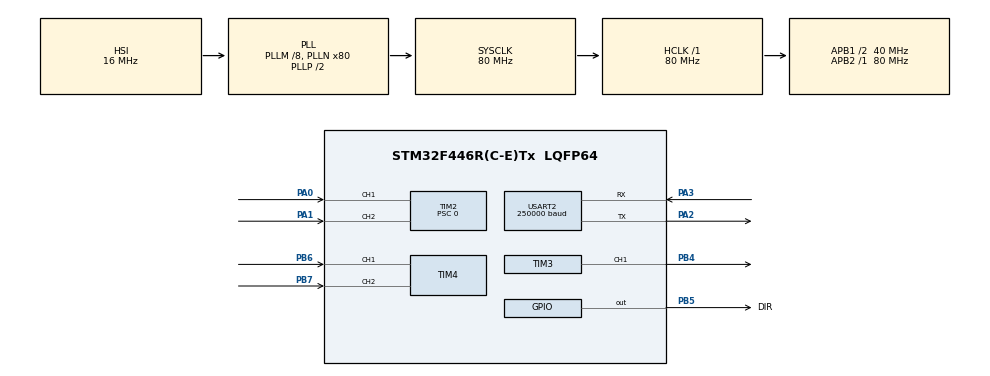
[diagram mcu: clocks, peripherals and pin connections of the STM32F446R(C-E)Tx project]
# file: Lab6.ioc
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Mcu.Family=STM32F4
Mcu.Name=STM32F446R(C-E)Tx
Mcu.Package=LQFP64
NVIC.PriorityGroup=NVIC_PRIORITYGROUP_4
NVIC.TIM1_UP_TIM10_IRQn=true\:0\:0\:false\:false\:true\:true\:true\:true
PA0-WKUP.Signal=S_TIM2_CH1_ETR
PA1.Signal=S_TIM2_CH2
PA2.Mode=Asynchronous
PA2.Signal=USART2_TX
PA3.Mode=Asynchronous
PA3.Signal=USART2_RX
PB4.Signal=S_TIM3_CH1
PB5.GPIO_Label=DIR
PB5.Signal=GPIO_Output
PB6.Signal=S_TIM4_CH1
PB7.Signal=S_TIM4_CH2
ProjectManager.HeapSize=0x200
ProjectManager.StackSize=0x400
ProjectManager.TargetToolchain=STM32CubeIDE
RCC.AHBFreq_Value=80000000
RCC.APB1CLKDivider=RCC_HCLK_DIV2
RCC.APB1Freq_Value=40000000
RCC.APB1TimFreq_Value=80000000
RCC.APB2Freq_Value=80000000
RCC.APB2TimFreq_Value=80000000
RCC.CortexFreq_Value=80000000
RCC.HCLKFreq_Value=80000000
RCC.PLLM=8
RCC.PLLN=80
RCC.SYSCLKFreq_VALUE=80000000
RCC.SYSCLKSource=RCC_SYSCLKSOURCE_PLLCLK
RCC.USBFreq_Value=80000000
RCC.VCOOutputFreq_Value=160000000
SH.S_TIM2_CH1_ETR.0=TIM2_CH1,Encoder_Interface
SH.S_TIM2_CH2.0=TIM2_CH2,Encoder_Interface
SH.S_TIM3_CH1.0=TIM3_CH1,PWM Generation1 CH1
SH.S_TIM4_CH1.0=TIM4_CH1,Encoder_Interface
SH.S_TIM4_CH2.0=TIM4_CH2,Encoder_Interface
TIM10.Period=999
TIM10.Prescaler=799
TIM2.EncoderMode=TIM_ENCODERMODE_TI12
TIM2.IC1Filter=1
TIM2.Prescaler=0
TIM3.Channel-PWM\ Generation1\ CH1=TIM_CHANNEL_1
TIM3.Period=99
TIM3.Prescaler=799
USART2.BaudRate=250000
USART2.VirtualMode=VM_ASYNC
VP_TIM10_VS_ClockSourceINT.Mode=Enable_Timer
board=custom

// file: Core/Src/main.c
/* USER CODE BEGIN Header */
/**
  ******************************************************************************
  * @file           : main.c
  * @brief          : Main program body
  ******************************************************************************
  * @attention
  *
  * Copyright (c) 2024 STMicroelectronics.
  * All rights reserved.
  *
  * This software is licensed under terms that can be found in the LICENSE file
  * in the root directory of this software component.
  * If no LICENSE file comes with this software, it is provided AS-IS.
  *
  ******************************************************************************
  */
/* USER CODE END Header */
#include "main.h"

/* USER CODE BEGIN Includes */
#include <string.h>
#include <stdio.h>
/* USER CODE END Includes */

/* USER CODE BEGIN PD */
#define ENCODER_RESOLUTION 20 // pulses per revolution
#define MAX_RPM 1000 // limit the speed
#define MAX_CONTROL 100 // limit the control signal  (for pwm)
#define INC_STEP 10 // set speed increment step
#define INC_PER_TICK 1 // 2 pulses per tick (encoder)
#define AVERAGING_SIZE 10
#define TIMER_PERIOD 10 // 1/T = 1/100 = 10ms

// PID Controller
const float Kp = 0.2;
const float Ki = 0.09;

/* USER CODE END PD */

/* USER CODE BEGIN PM */

struct telemetry_msg {
  int16_t header;
  int16_t rotor_speed; // RPM * 10
  int16_t set_speed; // RPM * 10
  int16_t error; // RPM * 10
  int16_t control_signal; // [-MAX_CONTROL, MAX_CONTROL]
  int16_t terminator;
};

/* USER CODE END PM */

TIM_HandleTypeDef htim2;
TIM_HandleTypeDef htim3;
TIM_HandleTypeDef htim4;
TIM_HandleTypeDef htim10;

UART_HandleTypeDef huart2;

/* USER CODE BEGIN PV */
uint32_t time; // ms

int16_t rotor_pos;
int16_t rotor_speed;

int16_t set_speed;

float integral = 0;
/* USER CODE END PV */

void SystemClock_Config(void);
static void MX_GPIO_Init(void);
static void MX_TIM2_Init(void);
static void MX_TIM3_Init(void);
static void MX_USART2_UART_Init(void);
static void MX_TIM10_Init(void);
static void MX_TIM4_Init(void);
/* USER CODE BEGIN PFP */
int32_t get_motor_speed(); // RPM * 100
int16_t pid_controller(int16_t set_speed, int16_t current_speed); // control signal [-MAX_CONTROL, MAX_CONTROL]
/* USER CODE END PFP */

/* USER CODE BEGIN 0 */
int32_t current_pos;
int32_t get_motor_speed(){  // RPM * 100
	current_pos = __HAL_TIM_GET_COUNTER(&htim2);
  __HAL_TIM_SetCounter(&htim2, 0);

  float avg_speed = (float) current_pos / ENCODER_RESOLUTION; // ticks per clock tick (1ms)
  return avg_speed * TIMER_PERIOD * 60;
}

int16_t pid_controller(int16_t set_speed, int16_t current_speed) {
  int16_t error = set_speed - current_speed;

  // integral += error;
  if(set_speed == 0) return 0;
  int16_t control_signal = Kp * error + Ki * integral;
  if(control_signal > MAX_CONTROL) {
    control_signal = MAX_CONTROL;
  } else if(control_signal < -MAX_CONTROL) {
    control_signal = -MAX_CONTROL;
  } else{
    integral += error;
  }
  return control_signal;
}

/* USER CODE END 0 */

int main(void)
{

  /* MCU Configuration--------------------------------------------------------*/

  /* Reset of all peripherals, Initializes the Flash interface and the Systick. */
  HAL_Init();

  /* Configure the system clock */
  SystemClock_Config();

  /* Initialize all configured peripherals */
  MX_GPIO_Init();
  MX_TIM2_Init();
  MX_TIM3_Init();
  MX_USART2_UART_Init();
  MX_TIM10_Init();
  MX_TIM4_Init();
  /* USER CODE BEGIN 2 */
  HAL_TIM_Encoder_Start(&htim2, TIM_CHANNEL_ALL); // motor
  HAL_TIM_Encoder_Start(&htim4, TIM_CHANNEL_ALL); // encoder
  HAL_TIM_Base_Start_IT(&htim10);
  HAL_TIM_PWM_Start(&htim3, TIM_CHANNEL_1);
  /* USER CODE END 2 */

  /* Infinite loop */
  /* USER CODE BEGIN WHILE */
  while (1)
  {
    // write PWM
    // __HAL_TIM_SetCompare(&htim3, TIM_CHANNEL_1, 50);

    /* USER CODE END WHILE */

  }
}

void SystemClock_Config(void)
{
  RCC_OscInitTypeDef RCC_OscInitStruct = {0};
  RCC_ClkInitTypeDef RCC_ClkInitStruct = {0};

  /** Configure the main internal regulator output voltage
  */
  __HAL_RCC_PWR_CLK_ENABLE();
  __HAL_PWR_VOLTAGESCALING_CONFIG(PWR_REGULATOR_VOLTAGE_SCALE3);

  /** Initializes the RCC Oscillators according to the specified parameters
  * in the RCC_OscInitTypeDef structure.
  */
  RCC_OscInitStruct.OscillatorType = RCC_OSCILLATORTYPE_HSI;
  RCC_OscInitStruct.HSIState = RCC_HSI_ON;
  RCC_OscInitStruct.HSICalibrationValue = RCC_HSICALIBRATION_DEFAULT;
  RCC_OscInitStruct.PLL.PLLState = RCC_PLL_ON;
  RCC_OscInitStruct.PLL.PLLSource = RCC_PLLSOURCE_HSI;
  RCC_OscInitStruct.PLL.PLLM = 8;
  RCC_OscInitStruct.PLL.PLLN = 80;
  RCC_OscInitStruct.PLL.PLLP = RCC_PLLP_DIV2;
  RCC_OscInitStruct.PLL.PLLQ = 2;
  RCC_OscInitStruct.PLL.PLLR = 2;
  if (HAL_RCC_OscConfig(&RCC_OscInitStruct) != HAL_OK)
  {
    Error_Handler();
  }

  /** Initializes the CPU, AHB and APB buses clocks
  */
  RCC_ClkInitStruct.ClockType = RCC_CLOCKTYPE_HCLK|RCC_CLOCKTYPE_SYSCLK
                              |RCC_CLOCKTYPE_PCLK1|RCC_CLOCKTYPE_PCLK2;
  RCC_ClkInitStruct.SYSCLKSource = RCC_SYSCLKSOURCE_PLLCLK;
  RCC_ClkInitStruct.AHBCLKDivider = RCC_SYSCLK_DIV1;
  RCC_ClkInitStruct.APB1CLKDivider = RCC_HCLK_DIV2;
  RCC_ClkInitStruct.APB2CLKDivider = RCC_HCLK_DIV1;

  if (HAL_RCC_ClockConfig(&RCC_ClkInitStruct, FLASH_LATENCY_2) != HAL_OK)
  {
    Error_Handler();
  }
}

static void MX_TIM2_Init(void)
{

  TIM_Encoder_InitTypeDef sConfig = {0};
  TIM_MasterConfigTypeDef sMasterConfig = {0};

  htim2.Instance = TIM2;
  htim2.Init.Prescaler = 0;
  htim2.Init.CounterMode = TIM_COUNTERMODE_UP;
  htim2.Init.Period = 4294967295;
  htim2.Init.ClockDivision = TIM_CLOCKDIVISION_DIV1;
  htim2.Init.AutoReloadPreload = TIM_AUTORELOAD_PRELOAD_DISABLE;
  sConfig.EncoderMode = TIM_ENCODERMODE_TI12;
  sConfig.IC1Polarity = TIM_ICPOLARITY_RISING;
  sConfig.IC1Selection = TIM_ICSELECTION_DIRECTTI;
  sConfig.IC1Prescaler = TIM_ICPSC_DIV1;
  sConfig.IC1Filter = 1;
  sConfig.IC2Polarity = TIM_ICPOLARITY_RISING;
  sConfig.IC2Selection = TIM_ICSELECTION_DIRECTTI;
  sConfig.IC2Prescaler = TIM_ICPSC_DIV1;
  sConfig.IC2Filter = 0;
  if (HAL_TIM_Encoder_Init(&htim2, &sConfig) != HAL_OK)
  {
    Error_Handler();
  }
  sMasterConfig.MasterOutputTrigger = TIM_TRGO_RESET;
  sMasterConfig.MasterSlaveMode = TIM_MASTERSLAVEMODE_DISABLE;
  if (HAL_TIMEx_MasterConfigSynchronization(&htim2, &sMasterConfig) != HAL_OK)
  {
    Error_Handler();
  }

}

static void MX_TIM3_Init(void)
{

  TIM_MasterConfigTypeDef sMasterConfig = {0};
  TIM_OC_InitTypeDef sConfigOC = {0};

  htim3.Instance = TIM3;
  htim3.Init.Prescaler = 799;
  htim3.Init.CounterMode = TIM_COUNTERMODE_UP;
  htim3.Init.Period = 99;
  htim3.Init.ClockDivision = TIM_CLOCKDIVISION_DIV1;
  htim3.Init.AutoReloadPreload = TIM_AUTORELOAD_PRELOAD_DISABLE;
  if (HAL_TIM_PWM_Init(&htim3) != HAL_OK)
  {
    Error_Handler();
  }
  sMasterConfig.MasterOutputTrigger = TIM_TRGO_RESET;
  sMasterConfig.MasterSlaveMode = TIM_MASTERSLAVEMODE_DISABLE;
  if (HAL_TIMEx_MasterConfigSynchronization(&htim3, &sMasterConfig) != HAL_OK)
  {
    Error_Handler();
  }
  sConfigOC.OCMode = TIM_OCMODE_PWM1;
  sConfigOC.Pulse = 0;
  sConfigOC.OCPolarity = TIM_OCPOLARITY_HIGH;
  sConfigOC.OCFastMode = TIM_OCFAST_DISABLE;
  if (HAL_TIM_PWM_ConfigChannel(&htim3, &sConfigOC, TIM_CHANNEL_1) != HAL_OK)
  {
    Error_Handler();
  }
  HAL_TIM_MspPostInit(&htim3);

}

static void MX_TIM4_Init(void)
{

  TIM_Encoder_InitTypeDef sConfig = {0};
  TIM_MasterConfigTypeDef sMasterConfig = {0};

  htim4.Instance = TIM4;
  htim4.Init.Prescaler = 0;
  htim4.Init.CounterMode = TIM_COUNTERMODE_UP;
  htim4.Init.Period = 65535;
  htim4.Init.ClockDivision = TIM_CLOCKDIVISION_DIV1;
  htim4.Init.AutoReloadPreload = TIM_AUTORELOAD_PRELOAD_DISABLE;
  sConfig.EncoderMode = TIM_ENCODERMODE_TI1;
  sConfig.IC1Polarity = TIM_ICPOLARITY_RISING;
  sConfig.IC1Selection = TIM_ICSELECTION_DIRECTTI;
  sConfig.IC1Prescaler = TIM_ICPSC_DIV1;
  sConfig.IC1Filter = 0;
  sConfig.IC2Polarity = TIM_ICPOLARITY_RISING;
  sConfig.IC2Selection = TIM_ICSELECTION_DIRECTTI;
  sConfig.IC2Prescaler = TIM_ICPSC_DIV1;
  sConfig.IC2Filter = 0;
  if (HAL_TIM_Encoder_Init(&htim4, &sConfig) != HAL_OK)
  {
    Error_Handler();
  }
  sMasterConfig.MasterOutputTrigger = TIM_TRGO_RESET;
  sMasterConfig.MasterSlaveMode = TIM_MASTERSLAVEMODE_DISABLE;
  if (HAL_TIMEx_MasterConfigSynchronization(&htim4, &sMasterConfig) != HAL_OK)
  {
    Error_Handler();
  }

}

static void MX_TIM10_Init(void)
{

  htim10.Instance = TIM10;
  htim10.Init.Prescaler = 799;
  htim10.Init.CounterMode = TIM_COUNTERMODE_UP;
  htim10.Init.Period = 999;
  htim10.Init.ClockDivision = TIM_CLOCKDIVISION_DIV1;
  htim10.Init.AutoReloadPreload = TIM_AUTORELOAD_PRELOAD_DISABLE;
  if (HAL_TIM_Base_Init(&htim10) != HAL_OK)
  {
    Error_Handler();
  }

}

static void MX_USART2_UART_Init(void)
{

  huart2.Instance = USART2;
  huart2.Init.BaudRate = 250000;
  huart2.Init.WordLength = UART_WORDLENGTH_8B;
  huart2.Init.StopBits = UART_STOPBITS_1;
  huart2.Init.Parity = UART_PARITY_NONE;
  huart2.Init.Mode = UART_MODE_TX_RX;
  huart2.Init.HwFlowCtl = UART_HWCONTROL_NONE;
  huart2.Init.OverSampling = UART_OVERSAMPLING_16;
  if (HAL_UART_Init(&huart2) != HAL_OK)
  {
    Error_Handler();
  }

}

static void MX_GPIO_Init(void)
{
  GPIO_InitTypeDef GPIO_InitStruct = {0};

  /* GPIO Ports Clock Enable */
  __HAL_RCC_GPIOA_CLK_ENABLE();
  __HAL_RCC_GPIOB_CLK_ENABLE();

  /*Configure GPIO pin Output Level */
  HAL_GPIO_WritePin(DIR_GPIO_Port, DIR_Pin, GPIO_PIN_RESET);

  /*Configure GPIO pin : DIR_Pin */
  GPIO_InitStruct.Pin = DIR_Pin;
  GPIO_InitStruct.Mode = GPIO_MODE_OUTPUT_PP;
  GPIO_InitStruct.Pull = GPIO_NOPULL;
  GPIO_InitStruct.Speed = GPIO_SPEED_FREQ_LOW;
  HAL_GPIO_Init(DIR_GPIO_Port, &GPIO_InitStruct);

}

/* USER CODE BEGIN 4 */
// timer 10 interrupt
void HAL_TIM_PeriodElapsedCallback(TIM_HandleTypeDef *htim) {
  if(htim->Instance == TIM10) {
    time += 1;

    // Set speed
    int16_t temp = __HAL_TIM_GET_COUNTER(&htim4);
    if (temp * INC_STEP / INC_PER_TICK > MAX_RPM) {
      temp = MAX_RPM * INC_PER_TICK / INC_STEP;
    }
    if (temp * INC_STEP / INC_PER_TICK < -MAX_RPM) {
      temp = -MAX_RPM * INC_PER_TICK / INC_STEP;
    }
    __HAL_TIM_SetCounter(&htim4, temp);

    set_speed = temp * INC_STEP / INC_PER_TICK ;

    // PID Controller
    rotor_speed = get_motor_speed();
    int16_t control_signal = pid_controller(set_speed, rotor_speed);
    __HAL_TIM_SET_COMPARE(&htim3, TIM_CHANNEL_1, abs(control_signal));
    if(control_signal < 0) {
      HAL_GPIO_WritePin(DIR_GPIO_Port, DIR_Pin, GPIO_PIN_SET);
    } else {
      HAL_GPIO_WritePin(DIR_GPIO_Port, DIR_Pin, GPIO_PIN_RESET);
    }

    // Send telemetry
    struct telemetry_msg msg;
    msg.header = 0xAAAA; // [170, 170]
    msg.rotor_speed = rotor_speed;
    msg.set_speed = set_speed;
    msg.error = set_speed - rotor_speed;
    msg.control_signal = control_signal;
    msg.terminator = 0xFFFF; // [255, 255]
    HAL_UART_Transmit(&huart2, (uint8_t *)&msg, sizeof(msg), 1000);

    // if(time % 1 == 0){
    //   char buffer[200];
    //   sprintf(buffer, "R: %d S: %d E: %d C: %d\n", msg.rotor_speed, msg.set_speed, msg.error, msg.control_signal);
    //   HAL_UART_Transmit(&huart2, (uint8_t *)buffer, strlen(buffer), 100);
    // }
  }
}

/* USER CODE END 4 */

void Error_Handler(void)
{
  __disable_irq();
  while (1)
  {
  }
}
